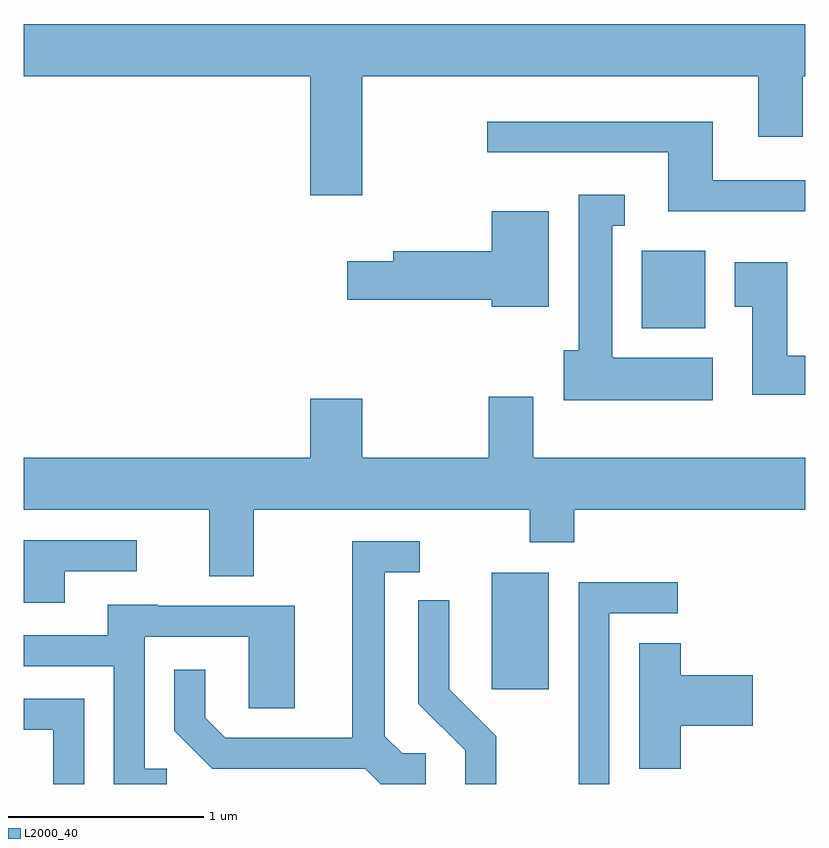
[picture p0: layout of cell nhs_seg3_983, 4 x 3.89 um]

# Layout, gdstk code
import gdstk
lib = gdstk.Library(unit=1e-6, precision=1e-09)
def R(c, l, rs):  # rectangles x0, y0, x1, y1
    for r in rs: c.add(gdstk.rectangle(r[:2], r[2:], *l))
def P(c, l, *ps):  # polygons
    for p in ps: c.add(gdstk.Polygon(p, *l))
L2000_40 = (2000, 40)

nhs_seg3_983 = lib.new_cell('nhs_seg3_983')
R(nhs_seg3_983, L2000_40, [(216.006,1178.376,216.299,1178.974), (216.776,1180.226,217.099,1180.624)])
P(nhs_seg3_983, L2000_40, [(215.344,1181.516),(217.371,1181.516),(217.371,1181.206),(217.599,1181.206),(217.599,1181.516),(217.611,1181.516),(217.611,1181.784),(213.611,1181.784),(213.611,1181.516),(215.076,1181.516),(215.076,1180.906),(215.344,1180.906)],
  [(217.611,1180.984),(217.139,1180.984),(217.139,1181.284),(215.983,1181.284),(215.983,1181.126),(216.911,1181.126),(216.911,1180.826),(217.611,1180.826)],
  [(217.139,1180.074),(216.63,1180.074),(216.63,1180.08),(216.624,1180.08),(216.624,1180.751),(216.688,1180.751),(216.688,1180.909),(216.451,1180.909),(216.451,1180.114),(216.376,1180.114),(216.376,1179.856),(217.139,1179.856)],
  [(216.299,1180.824),(216.006,1180.824),(216.006,1180.619),(215.501,1180.619),(215.501,1180.569),(215.266,1180.569),(215.266,1180.371),(216.006,1180.371),(216.006,1180.336),(216.299,1180.336)],
  [(217.611,1180.084),(217.519,1180.084),(217.519,1180.564),(217.251,1180.564),(217.251,1180.336),(217.341,1180.336),(217.341,1179.886),(217.611,1179.886)],
  [(214.789,1179.296),(216.201,1179.296),(216.201,1179.131),(216.429,1179.131),(216.429,1179.296),(217.611,1179.296),(217.611,1179.564),(216.219,1179.564),(216.219,1179.874),(215.991,1179.874),(215.991,1179.564),(215.344,1179.564),(215.344,1179.864),(215.076,1179.864),(215.076,1179.564),(213.611,1179.564),(213.611,1179.296),(214.561,1179.296),(214.561,1178.956),(214.789,1178.956)],
  [(213.819,1178.981),(214.188,1178.981),(214.188,1179.139),(213.611,1179.139),(213.611,1178.821),(213.819,1178.821)],
  [(215.668,1178.049),(215.547,1178.049),(215.459,1178.137),(215.459,1178.976),(215.638,1178.976),(215.638,1179.134),(215.291,1179.134),(215.291,1178.129),(214.642,1178.129),(214.539,1178.232),(214.539,1178.478),(214.381,1178.478),(214.381,1178.164),(214.574,1177.971),(215.359,1177.971),(215.438,1177.892),(215.668,1177.892)],
  [(216.609,1178.766),(216.958,1178.766),(216.958,1178.924),(216.451,1178.924),(216.451,1177.892),(216.609,1177.892)],
  [(216.029,1178.137),(215.789,1178.377),(215.789,1178.833),(215.631,1178.833),(215.631,1178.304),(215.871,1178.064),(215.871,1177.892),(216.029,1177.892)],
  [(214.343,1177.969),(214.229,1177.969),(214.229,1178.646),(214.761,1178.646),(214.761,1178.281),(214.999,1178.281),(214.999,1178.804),(214.295,1178.804),(214.295,1178.809),(214.041,1178.809),(214.041,1178.654),(213.611,1178.654),(213.611,1178.496),(214.071,1178.496),(214.071,1177.892),(214.343,1177.892)],
  [(216.974,1178.191),(217.344,1178.191),(217.344,1178.449),(216.974,1178.449),(216.974,1178.614),(216.761,1178.614),(216.761,1177.971),(216.974,1177.971)],
  [(213.919,1178.329),(213.611,1178.329),(213.611,1178.171),(213.761,1178.171),(213.761,1177.892),(213.919,1177.892)])

lib.write_gds('nhs_seg3_983.gds')
